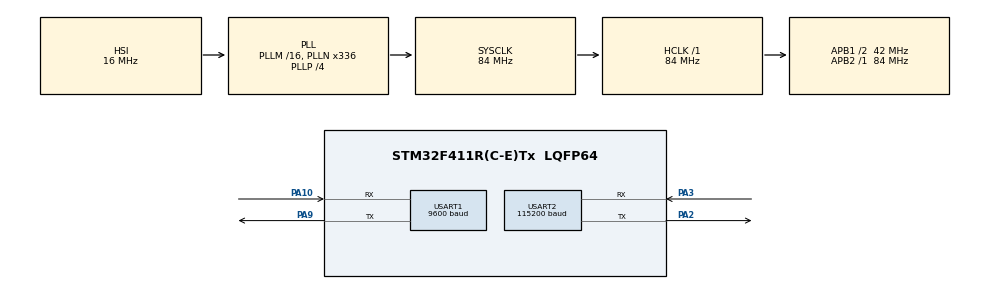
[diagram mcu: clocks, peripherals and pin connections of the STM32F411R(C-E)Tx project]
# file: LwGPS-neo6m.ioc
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Mcu.Family=STM32F4
RCC.CortexFreq_Value=84000000
Dma.USART1_RX.0.PeriphDataAlignment=DMA_PDATAALIGN_BYTE
PA10.Mode=Asynchronous
USART1.BaudRate=9600
RCC.APB1CLKDivider=RCC_HCLK_DIV2
USART2.BaudRate=115200
RCC.SYSCLKSource=RCC_SYSCLKSOURCE_PLLCLK
ProjectManager.StackSize=0x400
PA3.Mode=Asynchronous
PA9.Mode=Asynchronous
ProjectManager.TargetToolchain=STM32CubeIDE
Dma.USART1_RX.0.Direction=DMA_PERIPH_TO_MEMORY
RCC.HCLKFreq_Value=84000000
RCC.APB2TimFreq_Value=84000000
PA9.Signal=USART1_TX
RCC.AHBFreq_Value=84000000
Dma.USART1_RX.0.PeriphInc=DMA_PINC_DISABLE
Dma.USART1_RX.0.Priority=DMA_PRIORITY_HIGH
RCC.HSE_VALUE=8000000
board=NUCLEO-F411RE
RCC.VCOOutputFreq_Value=336000000
RCC.APB2Freq_Value=84000000
Dma.USART1_RX.0.MemDataAlignment=DMA_MDATAALIGN_BYTE
Dma.USART1_RX.0.MemInc=DMA_MINC_ENABLE
Mcu.Name=STM32F411R(C-E)Tx
PA2.Signal=USART2_TX
RCC.FLatency-AdvancedSettings=FLASH_LATENCY_2
RCC.48MHZClocksFreq_Value=84000000
RCC.SYSCLKFreq_VALUE=84000000
Mcu.Package=LQFP64
USART2.VirtualMode=VM_ASYNC
USART1.VirtualMode=VM_ASYNC
PA10.Signal=USART1_RX
ProjectManager.HeapSize=0x200
RCC.HSI_VALUE=16000000
RCC.PLLP=RCC_PLLP_DIV4
NVIC.PriorityGroup=NVIC_PRIORITYGROUP_0
Dma.USART1_RX.0.FIFOMode=DMA_FIFOMODE_DISABLE
NVIC.DMA2_Stream2_IRQn=true\:0\:0\:false\:false\:true\:false\:true
RCC.PLLN=336
RCC.APB1TimFreq_Value=84000000
PA2.Mode=Asynchronous
Dma.USART1_RX.0.Mode=DMA_CIRCULAR
NVIC.USART1_IRQn=true\:0\:0\:false\:false\:true\:true\:true
Dma.Request0=USART1_RX
RCC.APB1Freq_Value=42000000
Dma.USART1_RX.0.Instance=DMA2_Stream2
PA3.Signal=USART2_RX

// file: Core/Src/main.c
/* USER CODE BEGIN Header */
/**
 ******************************************************************************
 * @file           : main.c
 * @brief          : Main program body
 ******************************************************************************
 * @attention
 *
 * <h2><center>&copy; Copyright (c) 2021 STMicroelectronics.
 * All rights reserved.</center></h2>
 *
 * This software component is licensed by ST under BSD 3-Clause license,
 * the "License"; You may not use this file except in compliance with the
 * License. You may obtain a copy of the License at:
 *                        opensource.org/licenses/BSD-3-Clause
 *
 ******************************************************************************
 */
/* USER CODE END Header */
#include "main.h"

/* USER CODE BEGIN Includes */
#include "string.h"
#include "lwgps/lwgps.h"
#include <stdio.h>
#include <string.h>
#include <stdlib.h>
#include <stdarg.h> //for va_list var arg functions
/* USER CODE END Includes */

/* USER CODE BEGIN PD */
#define SIZE 200
/* USER CODE END PD */

UART_HandleTypeDef huart1;
UART_HandleTypeDef huart2;
DMA_HandleTypeDef hdma_usart1_rx;

/* USER CODE BEGIN PV */

uint8_t gpsRx[SIZE];
uint8_t flag = 0;

/* GPS handle */
lwgps_t hgps;

/* USER CODE END PV */

void SystemClock_Config(void);
static void MX_GPIO_Init(void);
static void MX_DMA_Init(void);
static void MX_USART2_UART_Init(void);
static void MX_USART1_UART_Init(void);
/* USER CODE BEGIN PFP */

void HAL_UART_RxCpltCallback(UART_HandleTypeDef *huart) {
	/* If the huart1 buffer is full, mark the flag. */
	flag = 1;
}

void serialPrint(const char *fmt, ...) {
	static char buffer[256];
	va_list args;
	va_start(args, fmt);
	vsnprintf(buffer, sizeof(buffer), fmt, args);
	va_end(args);

	HAL_UART_Transmit(&huart2, (uint8_t*) buffer, strlen(buffer), 15); // UART defined at huart2 for serial communication with computer.

}

/* USER CODE END PFP */

int main(void)
{

  /* MCU Configuration--------------------------------------------------------*/

  /* Reset of all peripherals, Initializes the Flash interface and the Systick. */
  HAL_Init();

  /* Configure the system clock */
  SystemClock_Config();

  /* Initialize all configured peripherals */
  MX_GPIO_Init();
  MX_DMA_Init();
  MX_USART2_UART_Init();
  MX_USART1_UART_Init();
  /* USER CODE BEGIN 2 */

	/* Recieve buffer */
	memset(gpsRx, 0, SIZE); // Clear the buffer.

	/* Start DMA; circular mode */
	HAL_UART_Receive_DMA(&huart1, gpsRx, SIZE);

	/* Init GPS */
	lwgps_init(&hgps);

  /* USER CODE END 2 */

  /* Infinite loop */
  /* USER CODE BEGIN WHILE */
	while (1) {

		if (flag == 1) {

			/* If buffer is full, process the income data */
			lwgps_process(&hgps, gpsRx, SIZE);

			/* Print messages */
			serialPrint("---\r\n");
			serialPrint("Valid status: %d\r\n", hgps.is_valid);
			serialPrint("Time: %02d:%02d:%02d\r\n", hgps.hours, hgps.minutes, hgps.seconds);
			serialPrint("Latitude: %f degrees\r\n", hgps.latitude);
			serialPrint("Longitude: %f degrees\r\n", hgps.longitude);
			serialPrint("Altitude: %f meters\r\n", hgps.altitude + hgps.geo_sep);
			serialPrint("Speed: %.2f km/h\r\n", hgps.speed * 1.852);

			flag = 0;

		}

    /* USER CODE END WHILE */

	}
}

void SystemClock_Config(void)
{
  RCC_OscInitTypeDef RCC_OscInitStruct = {0};
  RCC_ClkInitTypeDef RCC_ClkInitStruct = {0};

  /** Configure the main internal regulator output voltage
  */
  __HAL_RCC_PWR_CLK_ENABLE();
  __HAL_PWR_VOLTAGESCALING_CONFIG(PWR_REGULATOR_VOLTAGE_SCALE1);
  /** Initializes the RCC Oscillators according to the specified parameters
  * in the RCC_OscInitTypeDef structure.
  */
  RCC_OscInitStruct.OscillatorType = RCC_OSCILLATORTYPE_HSI;
  RCC_OscInitStruct.HSIState = RCC_HSI_ON;
  RCC_OscInitStruct.HSICalibrationValue = RCC_HSICALIBRATION_DEFAULT;
  RCC_OscInitStruct.PLL.PLLState = RCC_PLL_ON;
  RCC_OscInitStruct.PLL.PLLSource = RCC_PLLSOURCE_HSI;
  RCC_OscInitStruct.PLL.PLLM = 16;
  RCC_OscInitStruct.PLL.PLLN = 336;
  RCC_OscInitStruct.PLL.PLLP = RCC_PLLP_DIV4;
  RCC_OscInitStruct.PLL.PLLQ = 4;
  if (HAL_RCC_OscConfig(&RCC_OscInitStruct) != HAL_OK)
  {
    Error_Handler();
  }
  /** Initializes the CPU, AHB and APB buses clocks
  */
  RCC_ClkInitStruct.ClockType = RCC_CLOCKTYPE_HCLK|RCC_CLOCKTYPE_SYSCLK
                              |RCC_CLOCKTYPE_PCLK1|RCC_CLOCKTYPE_PCLK2;
  RCC_ClkInitStruct.SYSCLKSource = RCC_SYSCLKSOURCE_PLLCLK;
  RCC_ClkInitStruct.AHBCLKDivider = RCC_SYSCLK_DIV1;
  RCC_ClkInitStruct.APB1CLKDivider = RCC_HCLK_DIV2;
  RCC_ClkInitStruct.APB2CLKDivider = RCC_HCLK_DIV1;

  if (HAL_RCC_ClockConfig(&RCC_ClkInitStruct, FLASH_LATENCY_2) != HAL_OK)
  {
    Error_Handler();
  }
}

static void MX_USART1_UART_Init(void)
{

  huart1.Instance = USART1;
  huart1.Init.BaudRate = 9600;
  huart1.Init.WordLength = UART_WORDLENGTH_8B;
  huart1.Init.StopBits = UART_STOPBITS_1;
  huart1.Init.Parity = UART_PARITY_NONE;
  huart1.Init.Mode = UART_MODE_TX_RX;
  huart1.Init.HwFlowCtl = UART_HWCONTROL_NONE;
  huart1.Init.OverSampling = UART_OVERSAMPLING_16;
  if (HAL_UART_Init(&huart1) != HAL_OK)
  {
    Error_Handler();
  }

}

static void MX_USART2_UART_Init(void)
{

  huart2.Instance = USART2;
  huart2.Init.BaudRate = 115200;
  huart2.Init.WordLength = UART_WORDLENGTH_8B;
  huart2.Init.StopBits = UART_STOPBITS_1;
  huart2.Init.Parity = UART_PARITY_NONE;
  huart2.Init.Mode = UART_MODE_TX_RX;
  huart2.Init.HwFlowCtl = UART_HWCONTROL_NONE;
  huart2.Init.OverSampling = UART_OVERSAMPLING_16;
  if (HAL_UART_Init(&huart2) != HAL_OK)
  {
    Error_Handler();
  }

}

static void MX_DMA_Init(void)
{

  /* DMA controller clock enable */
  __HAL_RCC_DMA2_CLK_ENABLE();

  /* DMA interrupt init */
  /* DMA2_Stream2_IRQn interrupt configuration */
  HAL_NVIC_SetPriority(DMA2_Stream2_IRQn, 0, 0);
  HAL_NVIC_EnableIRQ(DMA2_Stream2_IRQn);

}

static void MX_GPIO_Init(void)
{

  /* GPIO Ports Clock Enable */
  __HAL_RCC_GPIOA_CLK_ENABLE();

}

void Error_Handler(void)
{
	__disable_irq();
	while (1) {
	}
}

/************************ (C) COPYRIGHT STMicroelectronics *****END OF FILE****/
